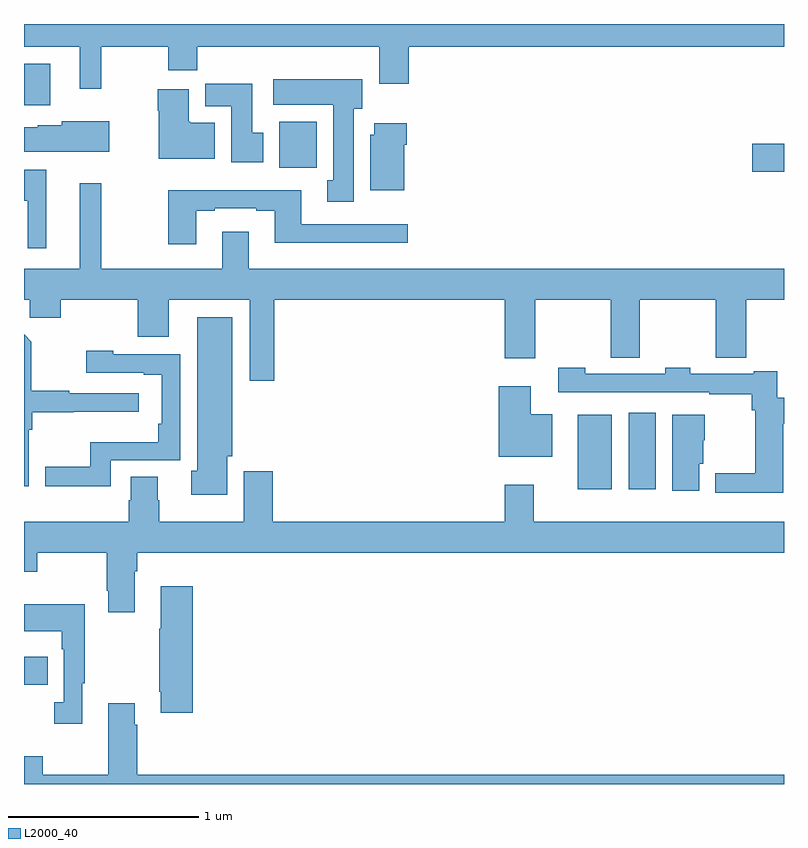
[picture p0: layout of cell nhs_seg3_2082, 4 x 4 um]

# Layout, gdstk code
import gdstk
lib = gdstk.Library(unit=1e-6, precision=1e-09)
def R(c, l, rs):  # rectangles x0, y0, x1, y1
    for r in rs: c.add(gdstk.rectangle(r[:2], r[2:], *l))
def P(c, l, *ps):  # polygons
    for p in ps: c.add(gdstk.Polygon(p, *l))
L2000_40 = (2000, 40)

nhs_seg3_2082 = lib.new_cell('nhs_seg3_2082')
R(nhs_seg3_2082, L2000_40, [(219,666.922,219.125,667.069), (221.915,667.952,222.094,668.344), (222.182,667.952,222.325,668.353), (222.834,669.623,223,669.77), (220.343,669.644,220.54,669.886), (219,669.972,219.139,670.192)])
P(nhs_seg3_2082, L2000_40, [(219.407,670.28),(219.76,670.28),(219.76,670.156),(219.911,670.156),(219.911,670.28),(220.871,670.28),(220.871,670.086),(221.024,670.086),(221.024,670.28),(223,670.28),(223,670.4),(219,670.4),(219,670.28),(219.293,670.28),(219.293,670.059),(219.407,670.059)],
  [(220.735,669.954),(220.78,669.954),(220.78,670.108),(220.311,670.108),(220.311,669.974),(220.628,669.974),(220.628,669.578),(220.595,669.578),(220.595,669.465),(220.735,669.465)],
  [(220.258,669.828),(220.201,669.828),(220.201,670.086),(219.953,670.086),(219.953,669.968),(220.091,669.968),(220.091,669.672),(220.258,669.672)],
  [(220.003,669.88),(219.874,669.88),(219.874,669.886),(219.868,669.886),(219.868,670.057),(219.703,670.057),(219.703,669.944),(219.71,669.944),(219.71,669.692),(220.003,669.692)],
  [(219.448,669.889),(219.198,669.889),(219.198,669.868),(219.072,669.868),(219.072,669.857),(219,669.857),(219,669.728),(219.448,669.728)],
  [(221.002,669.764),(221.015,669.764),(221.015,669.877),(220.844,669.877),(220.844,669.816),(220.823,669.816),(220.823,669.524),(221.002,669.524)],
  [(219.118,669.634),(219,669.634),(219,669.47),(219.02,669.47),(219.02,669.219),(219.118,669.219)],
  [(219.407,669.562),(219.293,669.562),(219.293,669.112),(219,669.112),(219,668.948),(219.029,668.948),(219.029,668.855),(219.193,668.855),(219.193,668.948),(219.599,668.948),(219.599,668.754),(219.763,668.754),(219.763,668.948),(220.187,668.948),(220.187,668.523),(220.316,668.523),(220.316,668.948),(221.531,668.948),(221.531,668.64),(221.691,668.64),(221.691,668.948),(222.088,668.948),(222.088,668.644),(222.242,668.644),(222.242,668.948),(222.64,668.948),(222.64,668.644),(222.8,668.644),(222.8,668.948),(223,668.948),(223,669.112),(220.183,669.112),(220.183,669.307),(220.043,669.307),(220.043,669.112),(219.407,669.112)],
  [(219.907,669.417),(220.003,669.417),(220.003,669.429),(220.223,669.429),(220.223,669.417),(220.319,669.417),(220.319,669.248),(221.02,669.248),(221.02,669.345),(220.459,669.345),(220.459,669.526),(219.76,669.526),(219.76,669.24),(219.907,669.24)],
  [(220.069,668.124),(220.096,668.124),(220.096,668.857),(219.911,668.857),(219.911,668.048),(219.881,668.048),(219.881,667.922),(220.069,667.922)],
  [(219.024,668.264),(219.044,668.264),(219.044,668.356),(219.263,668.356),(219.263,668.36),(219.604,668.36),(219.604,668.457),(219.239,668.457),(219.239,668.47),(219.039,668.47),(219.039,668.727),(219,668.766),(219,667.968),(219.024,667.968)],
  [(219.456,668.103),(219.822,668.103),(219.822,668.661),(219.471,668.661),(219.471,668.68),(219.327,668.68),(219.327,668.565),(219.629,668.565),(219.629,668.553),(219.726,668.553),(219.726,668.296),(219.706,668.296),(219.706,668.2),(219.348,668.2),(219.348,668.069),(219.111,668.069),(219.111,667.967),(219.456,667.967)],
  [(222.995,668.296),(223,668.296),(223,668.432),(222.965,668.432),(222.965,668.572),(222.842,668.572),(222.842,668.559),(222.507,668.559),(222.507,668.592),(222.375,668.592),(222.375,668.559),(221.955,668.559),(221.955,668.592),(221.811,668.592),(221.811,668.463),(222.607,668.463),(222.607,668.451),(222.829,668.451),(222.829,668.366),(222.848,668.366),(222.848,668.036),(222.639,668.036),(222.639,667.934),(222.995,667.934)],
  [(221.779,668.347),(221.668,668.347),(221.668,668.494),(221.498,668.494),(221.498,668.123),(221.779,668.123)],
  [(222.553,668.085),(222.574,668.085),(222.574,668.208),(222.583,668.208),(222.583,668.344),(222.413,668.344),(222.413,667.944),(222.553,667.944)],
  [(219.583,667.52),(219.596,667.52),(219.596,667.616),(223,667.616),(223,667.78),(221.683,667.78),(221.683,667.975),(221.531,667.975),(221.531,667.78),(220.31,667.78),(220.31,668.047),(220.157,668.047),(220.157,667.78),(219.711,667.78),(219.711,667.893),(219.703,667.893),(219.703,668.018),(219.563,668.018),(219.563,667.893),(219.551,667.893),(219.551,667.78),(219,667.78),(219,667.517),(219.069,667.517),(219.069,667.616),(219.436,667.616),(219.436,667.417),(219.443,667.417),(219.443,667.305),(219.583,667.305)],
  [(219.887,667.441),(219.719,667.441),(219.719,667.217),(219.712,667.217),(219.712,666.886),(219.719,666.886),(219.719,666.774),(219.887,666.774)],
  [(219.307,666.929),(219.319,666.929),(219.319,667.345),(219,667.345),(219,667.205),(219.198,667.205),(219.198,667.109),(219.21,667.109),(219.21,666.83),(219.159,666.83),(219.159,666.717),(219.307,666.717)],
  [(223,666.448),(219.596,666.448),(219.596,666.713),(219.583,666.713),(219.583,666.826),(219.443,666.826),(219.443,666.448),(219.099,666.448),(219.099,666.547),(219,666.547),(219,666.4),(223,666.4)])

lib.write_gds('nhs_seg3_2082.gds')
